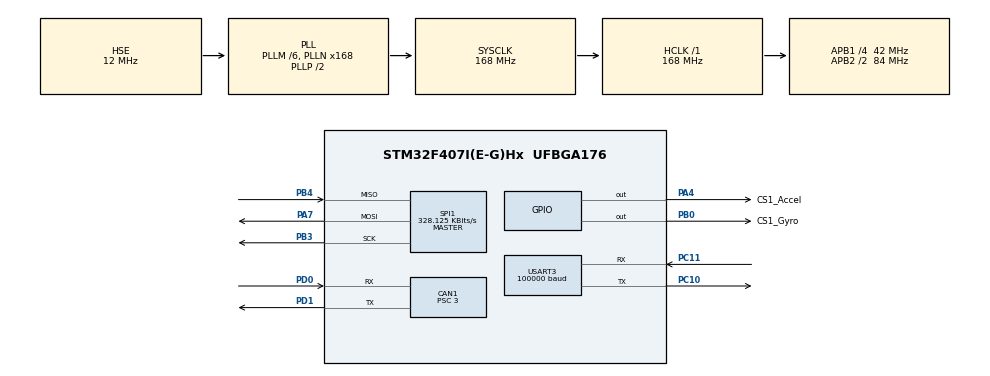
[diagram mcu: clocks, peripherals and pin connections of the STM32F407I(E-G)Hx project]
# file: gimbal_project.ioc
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CAN1.ABOM=ENABLE
CAN1.BS1=CAN_BS1_10TQ
CAN1.BS2=CAN_BS2_3TQ
CAN1.CalculateBaudRate=1000000
CAN1.CalculateTimeBit=1000
CAN1.CalculateTimeQuantum=71.42857142857143
CAN1.Prescaler=3
Dma.Request0=USART3_RX
Dma.USART3_RX.0.Direction=DMA_PERIPH_TO_MEMORY
Dma.USART3_RX.0.FIFOMode=DMA_FIFOMODE_DISABLE
Dma.USART3_RX.0.Instance=DMA1_Stream1
Dma.USART3_RX.0.MemDataAlignment=DMA_MDATAALIGN_BYTE
Dma.USART3_RX.0.MemInc=DMA_MINC_ENABLE
Dma.USART3_RX.0.Mode=DMA_NORMAL
Dma.USART3_RX.0.PeriphDataAlignment=DMA_PDATAALIGN_BYTE
Dma.USART3_RX.0.PeriphInc=DMA_PINC_DISABLE
Dma.USART3_RX.0.Priority=DMA_PRIORITY_LOW
IWDG.Prescaler=IWDG_PRESCALER_32
IWDG.Reload=1499
Mcu.Family=STM32F4
Mcu.Name=STM32F407I(E-G)Hx
Mcu.Package=UFBGA176
NVIC.CAN1_RX0_IRQn=true\:0\:0\:false\:false\:true\:true\:true\:true
NVIC.DMA1_Stream1_IRQn=true\:0\:0\:false\:false\:true\:false\:true\:true
NVIC.PriorityGroup=NVIC_PRIORITYGROUP_4
NVIC.TIM1_UP_TIM10_IRQn=true\:1\:0\:true\:false\:true\:true\:true\:true
NVIC.USART3_IRQn=true\:0\:0\:false\:false\:true\:true\:true\:true
PA13.Mode=Serial_Wire
PA13.Signal=SYS_JTMS-SWDIO
PA14.Mode=Serial_Wire
PA14.Signal=SYS_JTCK-SWCLK
PA4.GPIO_Label=CS1_Accel
PA4.PinState=GPIO_PIN_SET
PA4.Signal=GPIO_Output
PA7.Mode=Full_Duplex_Master
PA7.Signal=SPI1_MOSI
PB0.GPIO_Label=CS1_Gyro
PB0.PinState=GPIO_PIN_SET
PB0.Signal=GPIO_Output
PB3.Mode=Full_Duplex_Master
PB3.Signal=SPI1_SCK
PB4.Mode=Full_Duplex_Master
PB4.Signal=SPI1_MISO
PC10.Mode=Asynchronous
PC10.Signal=USART3_TX
PC11.Mode=Asynchronous
PC11.Signal=USART3_RX
PD0.Mode=CAN_Activate
PD0.Signal=CAN1_RX
PD1.Mode=CAN_Activate
PD1.Signal=CAN1_TX
PH0-OSC_IN.Mode=HSE-External-Oscillator
PH0-OSC_IN.Signal=RCC_OSC_IN
PH1-OSC_OUT.Mode=HSE-External-Oscillator
PH1-OSC_OUT.Signal=RCC_OSC_OUT
ProjectManager.HeapSize=0x1000
ProjectManager.StackSize=0x2000
ProjectManager.TargetToolchain=MDK-ARM V5.32
RCC.48MHZClocksFreq_Value=84000000
RCC.AHBFreq_Value=168000000
RCC.APB1CLKDivider=RCC_HCLK_DIV4
RCC.APB1Freq_Value=42000000
RCC.APB1TimFreq_Value=84000000
RCC.APB2CLKDivider=RCC_HCLK_DIV2
RCC.APB2Freq_Value=84000000
RCC.APB2TimFreq_Value=168000000
RCC.CortexFreq_Value=168000000
RCC.HCLKFreq_Value=168000000
RCC.HSE_VALUE=12000000
RCC.HSI_VALUE=16000000
RCC.LSE_VALUE=32768
RCC.PLLM=6
RCC.PLLN=168
RCC.PLLSourceVirtual=RCC_PLLSOURCE_HSE
RCC.SYSCLKFreq_VALUE=168000000
RCC.SYSCLKSource=RCC_SYSCLKSOURCE_PLLCLK
RCC.VCOOutputFreq_Value=336000000
SPI1.BaudRatePrescaler=SPI_BAUDRATEPRESCALER_256
SPI1.CLKPhase=SPI_PHASE_2EDGE
SPI1.CLKPolarity=SPI_POLARITY_HIGH
SPI1.CalculateBaudRate=328.125 KBits/s
SPI1.Direction=SPI_DIRECTION_2LINES
SPI1.Mode=SPI_MODE_MASTER
SPI1.VirtualType=VM_MASTER
TIM10.Period=1000
TIM10.Prescaler=168
USART3.BaudRate=100000
USART3.Parity=PARITY_EVEN
USART3.VirtualMode=VM_ASYNC
USART3.WordLength=WORDLENGTH_9B
VP_IWDG_VS_IWDG.Mode=IWDG_Activate
VP_TIM10_VS_ClockSourceINT.Mode=Enable_Timer
board=custom

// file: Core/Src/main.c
/* USER CODE BEGIN Header */
/**
  ******************************************************************************
  * @file           : main.c
  * @brief          : Main program body
  ******************************************************************************
  * @attention
  *
  * Copyright (c) 2024 STMicroelectronics.
  * All rights reserved.
  *
  * This software is licensed under terms that can be found in the LICENSE file
  * in the root directory of this software component.
  * If no LICENSE file comes with this software, it is provided AS-IS.
  *
  ******************************************************************************
  */
/* USER CODE END Header */
#include "main.h"
#include "can.h"
#include "dma.h"
#include "gpio.h"
#include "iwdg.h"
#include "spi.h"
#include "tim.h"
#include "usart.h"

#include "imu.h"

void SystemClock_Config(void);

int main(void) {

    /* MCU Configuration--------------------------------------------------------*/

    /* Reset of all peripherals, Initializes the Flash interface and the Systick. */
    HAL_Init();

    /* Configure the system clock */
    SystemClock_Config();

    /* Initialize all configured peripherals */
    MX_GPIO_Init();
    MX_DMA_Init();
    MX_TIM10_Init();
    MX_USART3_UART_Init();
    MX_CAN1_Init();
    MX_IWDG_Init();
    MX_SPI1_Init();
    /* USER CODE BEGIN 2 */

    imu_init();

    CAN_FilterTypeDef filter_config = { .FilterIdHigh = 0x0000,
                                        .FilterIdLow = 0x0000,
                                        .FilterMaskIdHigh = 0x0000,
                                        .FilterMaskIdLow = 0x0000,
                                        .FilterFIFOAssignment = CAN_FILTER_FIFO0,
                                        .FilterBank = 0,
                                        .FilterMode = CAN_FILTERMODE_IDMASK,
                                        .FilterScale = CAN_FILTERSCALE_16BIT,
                                        .FilterActivation = CAN_FILTER_ENABLE,
                                        .SlaveStartFilterBank = 0 };
    HAL_CAN_ConfigFilter(&hcan1, &filter_config);
    HAL_CAN_Start(&hcan1);
    HAL_CAN_ActivateNotification(&hcan1, CAN_IT_RX_FIFO0_MSG_PENDING);

    // Start the main loop 放在！最后！
    HAL_TIM_Base_Start_IT(&htim10);
    /* USER CODE END 2 */

    /* Infinite loop */
    while (1) {

    }
}

void SystemClock_Config(void) {
    RCC_OscInitTypeDef RCC_OscInitStruct = { 0 };
    RCC_ClkInitTypeDef RCC_ClkInitStruct = { 0 };

    /** Configure the main internal regulator output voltage
  */
    __HAL_RCC_PWR_CLK_ENABLE();
    __HAL_PWR_VOLTAGESCALING_CONFIG(PWR_REGULATOR_VOLTAGE_SCALE1);

    /** Initializes the RCC Oscillators according to the specified parameters
  * in the RCC_OscInitTypeDef structure.
  */
    RCC_OscInitStruct.OscillatorType = RCC_OSCILLATORTYPE_LSI | RCC_OSCILLATORTYPE_HSE;
    RCC_OscInitStruct.HSEState = RCC_HSE_ON;
    RCC_OscInitStruct.LSIState = RCC_LSI_ON;
    RCC_OscInitStruct.PLL.PLLState = RCC_PLL_ON;
    RCC_OscInitStruct.PLL.PLLSource = RCC_PLLSOURCE_HSE;
    RCC_OscInitStruct.PLL.PLLM = 6;
    RCC_OscInitStruct.PLL.PLLN = 168;
    RCC_OscInitStruct.PLL.PLLP = RCC_PLLP_DIV2;
    RCC_OscInitStruct.PLL.PLLQ = 4;
    if (HAL_RCC_OscConfig(&RCC_OscInitStruct) != HAL_OK) {
        Error_Handler();
    }

    /** Initializes the CPU, AHB and APB buses clocks
  */
    RCC_ClkInitStruct.ClockType =
        RCC_CLOCKTYPE_HCLK | RCC_CLOCKTYPE_SYSCLK | RCC_CLOCKTYPE_PCLK1 | RCC_CLOCKTYPE_PCLK2;
    RCC_ClkInitStruct.SYSCLKSource = RCC_SYSCLKSOURCE_PLLCLK;
    RCC_ClkInitStruct.AHBCLKDivider = RCC_SYSCLK_DIV1;
    RCC_ClkInitStruct.APB1CLKDivider = RCC_HCLK_DIV4;
    RCC_ClkInitStruct.APB2CLKDivider = RCC_HCLK_DIV2;

    if (HAL_RCC_ClockConfig(&RCC_ClkInitStruct, FLASH_LATENCY_5) != HAL_OK) {
        Error_Handler();
    }
}

void Error_Handler(void) {
    __disable_irq();
    while (1) {
    }
}
